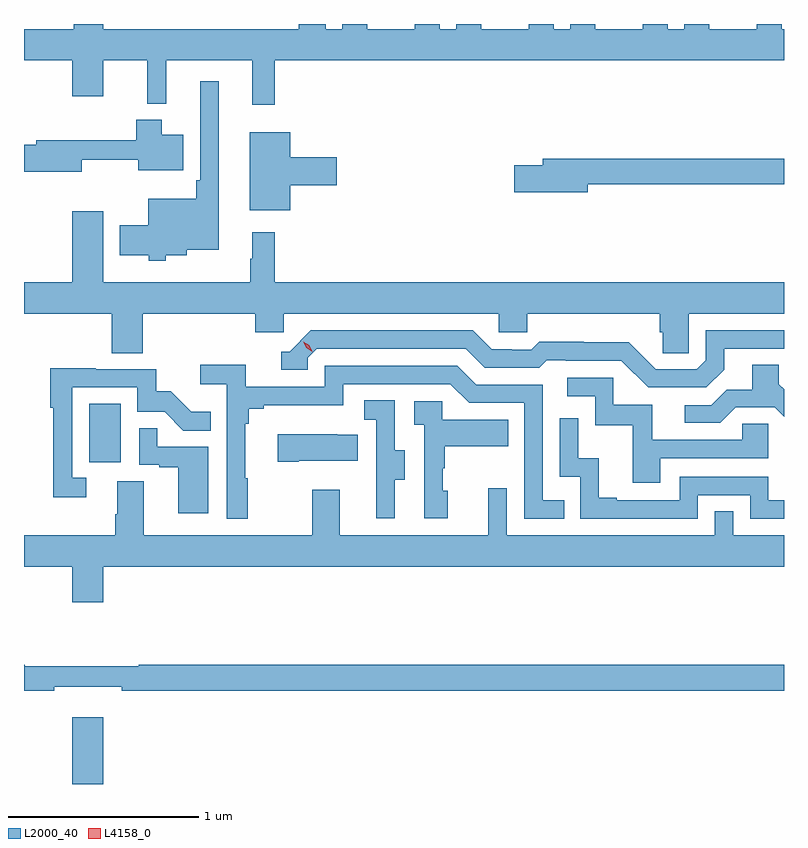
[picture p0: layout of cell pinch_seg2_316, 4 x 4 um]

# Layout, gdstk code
import gdstk
lib = gdstk.Library(unit=1e-6, precision=1e-09)
def R(c, l, rs):  # rectangles x0, y0, x1, y1
    for r in rs: c.add(gdstk.rectangle(r[:2], r[2:], *l))
def P(c, l, *ps):  # polygons
    for p in ps: c.add(gdstk.Polygon(p, *l))
L2000_40 = (2000, 40)
L4158_0 = (4158, 0)

pinch_seg2_316 = lib.new_cell('pinch_seg2_316')
R(pinch_seg2_316, L2000_40, [(932.24,626.512,932.404,626.863), (932.33,628.206,932.494,628.513)])
P(pinch_seg2_316, L2000_40, [(935.986,630.484),(935.974,630.484),(935.974,630.512),(935.843,630.512),(935.843,630.484),(935.593,630.484),(935.593,630.512),(935.462,630.512),(935.462,630.484),(935.374,630.484),(935.374,630.512),(935.243,630.512),(935.243,630.484),(934.993,630.484),(934.993,630.512),(934.862,630.512),(934.862,630.484),(934.774,630.484),(934.774,630.512),(934.643,630.512),(934.643,630.484),(934.393,630.484),(934.393,630.512),(934.262,630.512),(934.262,630.484),(934.174,630.484),(934.174,630.512),(934.043,630.512),(934.043,630.484),(933.793,630.484),(933.793,630.512),(933.662,630.512),(933.662,630.484),(933.574,630.484),(933.574,630.512),(933.431,630.512),(933.431,630.484),(932.402,630.484),(932.402,630.512),(932.249,630.512),(932.249,630.484),(931.986,630.484),(931.986,630.32),(932.24,630.32),(932.24,630.132),(932.404,630.132),(932.404,630.32),(932.635,630.32),(932.635,630.092),(932.735,630.092),(932.735,630.32),(933.188,630.32),(933.188,630.087),(933.305,630.087),(933.305,630.32),(935.986,630.32)],
  [(932.733,629.294),(932.842,629.294),(932.842,629.324),(933.01,629.324),(933.01,630.211),(932.913,630.211),(932.913,629.689),(932.893,629.689),(932.893,629.593),(932.639,629.593),(932.639,629.452),(932.49,629.452),(932.49,629.294),(932.643,629.294),(932.643,629.267),(932.733,629.267)],
  [(932.29,629.797),(932.588,629.797),(932.588,629.741),(932.824,629.741),(932.824,629.929),(932.71,629.929),(932.71,630.007),(932.576,630.007),(932.576,629.901),(932.051,629.901),(932.051,629.877),(931.986,629.877),(931.986,629.735),(932.29,629.735)],
  [(933.388,629.663),(933.631,629.663),(933.631,629.81),(933.388,629.81),(933.388,629.941),(933.173,629.941),(933.173,629.531),(933.388,629.531)],
  [(934.954,629.668),(935.986,629.668),(935.986,629.804),(934.715,629.804),(934.715,629.768),(934.566,629.768),(934.566,629.626),(934.954,629.626)],
  [(932.612,628.988),(933.203,628.988),(933.203,628.89),(933.354,628.89),(933.354,628.988),(934.485,628.988),(934.485,628.89),(934.635,628.89),(934.635,628.988),(935.333,628.988),(935.333,628.89),(935.347,628.89),(935.347,628.78),(935.484,628.78),(935.484,628.988),(935.986,628.988),(935.986,629.152),(933.305,629.152),(933.305,629.416),(933.188,629.416),(933.188,629.276),(933.177,629.276),(933.177,629.152),(932.404,629.152),(932.404,629.527),(932.24,629.527),(932.24,629.152),(931.986,629.152),(931.986,628.988),(932.447,628.988),(932.447,628.78),(932.612,628.78)],
  [(935.671,628.693),(935.671,628.803),(935.986,628.803),(935.986,628.899),(935.574,628.899),(935.574,628.743),(935.526,628.695),(935.31,628.695),(935.168,628.837),(934.932,628.837),(934.932,628.84),(934.699,628.84),(934.657,628.797),(934.554,628.797),(934.554,628.8),(934.447,628.8),(934.348,628.899),(933.495,628.899),(933.384,628.788),(933.341,628.788),(933.341,628.692),(933.48,628.692),(933.48,628.755),(933.528,628.803),(934.311,628.803),(934.41,628.704),(934.699,628.704),(934.738,628.743),(934.837,628.743),(934.837,628.74),(935.13,628.74),(935.271,628.599),(935.577,628.599)],
  [(935.731,628.494),(935.937,628.494),(935.986,628.445),(935.986,628.589),(935.959,628.616),(935.959,628.718),(935.819,628.718),(935.819,628.586),(935.684,628.586),(935.604,628.506),(935.463,628.506),(935.463,628.413),(935.65,628.413)],
  [(933.163,628.121),(933.151,628.121),(933.151,628.409),(933.17,628.409),(933.17,628.486),(933.247,628.486),(933.247,628.505),(933.666,628.505),(933.666,628.617),(934.23,628.617),(934.329,628.518),(934.62,628.518),(934.62,627.909),(934.829,627.909),(934.829,628.005),(934.716,628.005),(934.716,628.614),(934.366,628.614),(934.267,628.713),(933.57,628.713),(933.57,628.602),(933.152,628.602),(933.152,628.718),(932.913,628.718),(932.913,628.616),(933.054,628.616),(933.054,627.909),(933.163,627.909)],
  [(932.314,628.125),(932.241,628.125),(932.241,628.599),(932.583,628.599),(932.583,628.47),(932.727,628.47),(932.825,628.372),(932.969,628.372),(932.969,628.471),(932.865,628.471),(932.758,628.578),(932.682,628.578),(932.682,628.695),(932.363,628.695),(932.363,628.7),(932.125,628.7),(932.125,628.492),(932.14,628.492),(932.14,628.02),(932.314,628.02)],
  [(935.335,628.227),(935.904,628.227),(935.904,628.407),(935.767,628.407),(935.767,628.323),(935.293,628.323),(935.293,628.509),(935.088,628.509),(935.088,628.65),(934.845,628.65),(934.845,628.554),(934.992,628.554),(934.992,628.401),(935.191,628.401),(935.191,628.098),(935.335,628.098)],
  [(933.937,628.114),(933.991,628.114),(933.991,628.269),(933.936,628.269),(933.936,628.532),(933.777,628.532),(933.777,628.429),(933.84,628.429),(933.84,628.125),(933.839,628.125),(933.839,627.912),(933.937,627.912)],
  [(934.216,628.056),(934.191,628.056),(934.191,628.175),(934.201,628.175),(934.201,628.289),(934.535,628.289),(934.535,628.429),(934.188,628.429),(934.188,628.527),(934.041,628.527),(934.041,628.403),(934.092,628.403),(934.092,627.912),(934.216,627.912)],
  [(935.532,628.032),(935.808,628.032),(935.808,627.909),(935.986,627.909),(935.986,628.005),(935.904,628.005),(935.904,628.128),(935.436,628.128),(935.436,628.005),(935.107,628.005),(935.107,628.018),(935.012,628.018),(935.012,628.226),(934.902,628.226),(934.902,628.438),(934.806,628.438),(934.806,628.128),(934.914,628.128),(934.914,627.909),(935.532,627.909)],
  [(932.956,628.287),(932.687,628.287),(932.687,628.385),(932.592,628.385),(932.592,628.191),(932.699,628.191),(932.699,628.179),(932.798,628.179),(932.798,627.936),(932.956,627.936)],
  [(933.433,628.214),(933.743,628.214),(933.743,628.351),(933.635,628.351),(933.635,628.354),(933.321,628.354),(933.321,628.207),(933.433,628.207)],
  [(932.404,627.656),(935.986,627.656),(935.986,627.82),(935.718,627.82),(935.718,627.947),(935.622,627.947),(935.622,627.82),(934.527,627.82),(934.527,628.069),(934.43,628.069),(934.43,627.82),(933.649,627.82),(933.649,628.06),(933.502,628.06),(933.502,627.82),(932.617,627.82),(932.617,628.106),(932.477,628.106),(932.477,627.932),(932.465,627.932),(932.465,627.82),(931.986,627.82),(931.986,627.656),(932.24,627.656),(932.24,627.468),(932.404,627.468)],
  [(932.144,627.023),(932.5,627.023),(932.5,627.004),(935.986,627.004),(935.986,627.14),(932.591,627.14),(932.591,627.133),(931.991,627.133),(931.991,627.14),(931.986,627.14),(931.986,627.004),(932.144,627.004)])
P(pinch_seg2_316, L4158_0, [(933.503,628.788),(933.472,628.807),(933.456,628.84),(933.456,628.84),(933.456,628.84),(933.487,628.821),(933.503,628.788),(933.503,628.788)])

lib.write_gds('pinch_seg2_316.gds')
